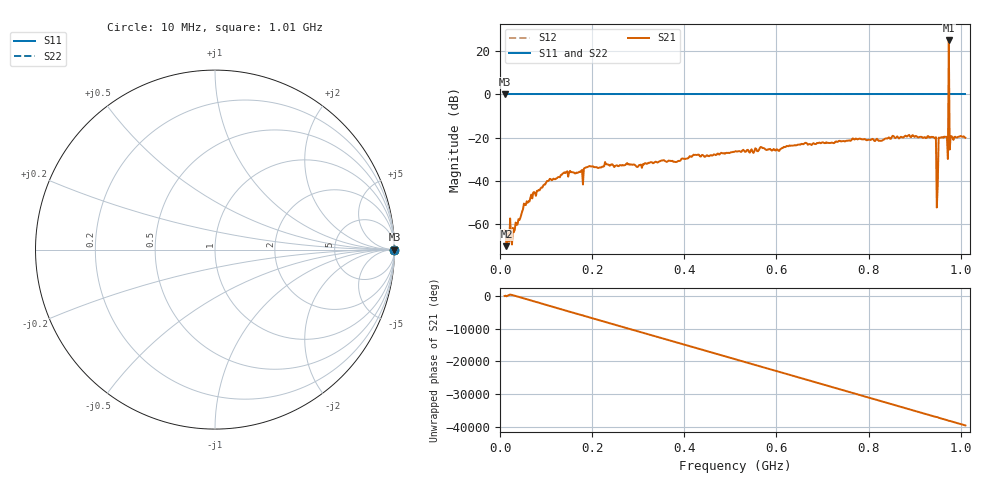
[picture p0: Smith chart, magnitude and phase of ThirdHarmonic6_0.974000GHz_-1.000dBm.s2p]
! 8/16/2025 7:26:40 AM
! C:\ANRITSUVNA\TEMP\TEMP.S2P
! CHANNEL.1
! TR.MEASUREMENT
! RAW.DATA
! RF.CORRECTION.OFF
! AVERAGING.OFF
! IF.BANDWIDTH: 5KHZ
! SWEEPTYPE:  FREQ.SWEEP(Linear)
! Reference Plane Port Info
! PORT:  PORT1  PORT2
! DISTANCE:  0  m  0  m
! TIME:  0  s  0  s
! PHASE.OFFSET:  0  deg.  0  deg.
! LOSS:  0  dB  0  dB
! REF.LOSS:  0  dB  0  dB
! REF.FREQ:  0  Hz  0  Hz
! Power Info
! POWER:  -20  dBm  -20  dBm
! EFF.POWER:  -20  dBm  -20  dBm
! SOURCE.ATTEN:  0  dB  0  dB
! TEST.ATTEN:  0  dB  0  dB
# GHZ S RI R 50.0
! FREQ.GHZ  S11RE  S11IM  S21RE  S21IM  S12RE  S12IM  S22RE  S22IM
!; PortSelection: Port_12
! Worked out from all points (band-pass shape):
!   501 points, 10 MHz to 1.01 GHz, reference 50 ohm
!   highest |S21| = 24.97 dB at 974 MHz (marker M1); lowest = -70.3 dB at 14 MHz (marker M2)
!   |S21| within 3 dB of the highest: 973.8907 MHz to 974.1187 MHz (228 kHz wide, 0.0234 % of centre)
!   lowest |S11| = 0.0 dB at 10 MHz (marker M3)
!   |S11| at or under -10 dB: nowhere
!   |S22| runs from 0.0 to 0.0 dB; largest |S21 - S12| = 18
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0.01  1 0  0.000158 -0.000691  1 0  1 0
0.014  1 0  -0.000291 -9.33e-05  1 0  1 0
0.028  1 0  -0.00081 -5.18e-05  1 0  1 0
0.056  1 0  -0.000455 0.0027  1 0  1 0
0.104  1 0  0.0049 -0.00849  1 0  1 0
0.142  1 0  -0.0146 -0.00369  1 0  1 0
0.178  1 0  -0.0177 -0.00123  1 0  1 0
0.194  1 0  -0.00751 -0.0207  1 0  1 0
0.344  1 0  0.0259 -0.00858  1 0  1 0
0.51  1 0  -0.0413 0.0238  1 0  1 0
0.678  1 0  -0.0468 -0.0524  1 0  1 0
0.844  1 0  0.0995 0.0165  1 0  1 0
0.942  1 0  0.0991 0.011  1 0  1 0
0.946  1 0  -0.0876 -0.0519  1 0  1 0
0.952  1 0  0.0834 -0.0537  1 0  1 0
0.956  1 0  -0.0961 0.0257  1 0  1 0
0.968  1 0  0.0772 0.0704  1 0  1 0
0.97  1 0  0.0796 -0.065  1 0  1 0
0.974  1 0  -6.525 16.47  1 0  1 0
0.978  1 0  0.1082 -0.00755  1 0  1 0
0.98  1 0  0.00743 -0.1065  1 0  1 0
1.01  1 0  -0.0787 0.0597  1 0  1 0
